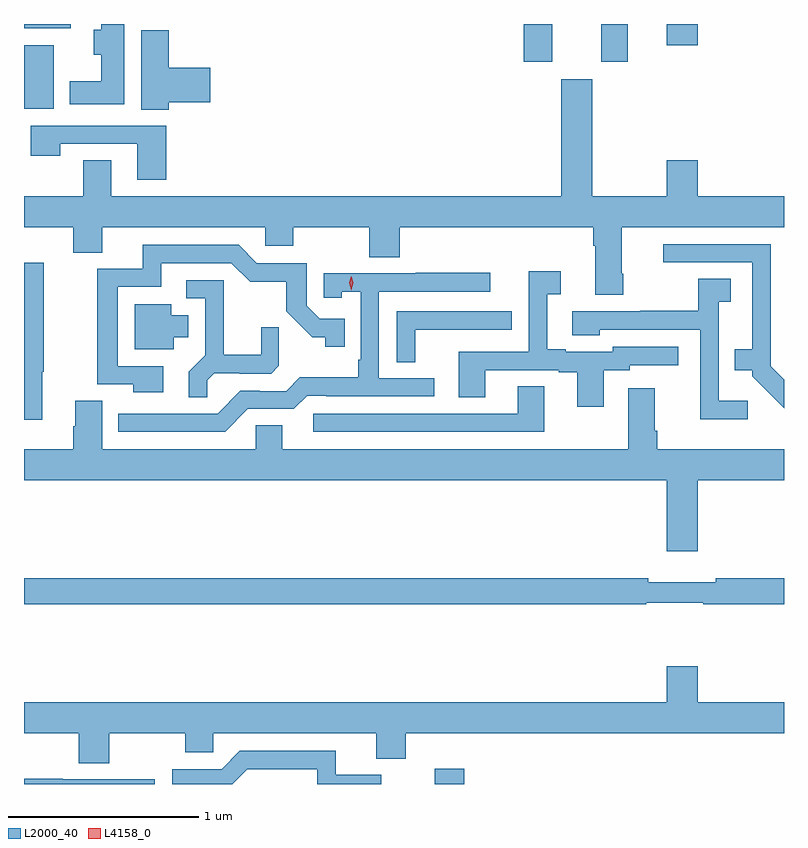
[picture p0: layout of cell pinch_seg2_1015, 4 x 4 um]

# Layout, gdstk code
import gdstk
lib = gdstk.Library(unit=1e-6, precision=1e-09)
def R(c, l, rs):  # rectangles x0, y0, x1, y1
    for r in rs: c.add(gdstk.rectangle(r[:2], r[2:], *l))
def P(c, l, *ps):  # polygons
    for p in ps: c.add(gdstk.Polygon(p, *l))
L2000_40 = (2000, 40)
L4158_0 = (4158, 0)

pinch_seg2_1015 = lib.new_cell('pinch_seg2_1015')
R(pinch_seg2_1015, L2000_40, [(319.633,595.422,319.787,595.501), (317.47,598.976,317.626,599.311), (320.099,599.223,320.251,599.422), (320.507,599.223,320.647,599.422), (320.852,599.31,321.016,599.422), (317.47,599.4,317.716,599.422)])
P(pinch_seg2_1015, L2000_40, [(317.998,599.422),(317.876,599.422),(317.876,599.391),(317.837,599.391),(317.837,599.261),(317.876,599.261),(317.876,599.122),(317.711,599.122),(317.711,599),(317.998,599)],
  [(318.233,599.009),(318.451,599.009),(318.451,599.192),(318.233,599.192),(318.233,599.388),(318.086,599.388),(318.086,598.972),(318.233,598.972)],
  [(320.625,598.108),(320.617,598.108),(320.617,598.352),(321.47,598.352),(321.47,598.516),(321.016,598.516),(321.016,598.705),(320.852,598.705),(320.852,598.516),(320.461,598.516),(320.461,599.131),(320.297,599.131),(320.297,598.516),(317.929,598.516),(317.929,598.706),(317.782,598.706),(317.782,598.516),(317.47,598.516),(317.47,598.352),(317.729,598.352),(317.729,598.219),(317.881,598.219),(317.881,598.352),(318.741,598.352),(318.741,598.254),(318.888,598.254),(318.888,598.352),(319.288,598.352),(319.288,598.195),(319.448,598.195),(319.448,598.352),(320.465,598.352),(320.465,598.256),(320.477,598.256),(320.477,597.996),(320.625,597.996)],
  [(318.218,598.887),(317.505,598.887),(317.505,598.728),(317.661,598.728),(317.661,598.791),(318.065,598.791),(318.065,598.602),(318.218,598.602)],
  [(321.47,597.55),(321.399,597.621),(321.399,598.263),(320.835,598.263),(320.835,598.167),(321.302,598.167),(321.302,597.709),(321.211,597.709),(321.211,597.599),(321.303,597.599),(321.303,597.567),(321.47,597.4)],
  [(318.202,597.621),(317.964,597.621),(317.964,598.038),(318.193,598.038),(318.193,598.164),(318.561,598.164),(318.66,598.066),(318.849,598.066),(318.849,597.91),(318.986,597.773),(319.056,597.773),(319.056,597.723),(319.157,597.723),(319.157,597.87),(319.026,597.87),(318.957,597.939),(318.957,598.164),(318.696,598.164),(318.6,598.26),(318.095,598.26),(318.095,598.134),(317.856,598.134),(317.856,597.525),(318.046,597.525),(318.046,597.485),(318.202,597.485)],
  [(317.566,597.591),(317.574,597.591),(317.574,598.165),(317.47,598.165),(317.47,597.339),(317.566,597.339)],
  [(320.521,597.6),(320.658,597.6),(320.658,597.627),(320.914,597.627),(320.914,597.723),(320.568,597.723),(320.568,597.696),(320.32,597.696),(320.32,597.709),(320.224,597.709),(320.224,598),(320.296,598),(320.296,598.12),(320.127,598.12),(320.127,597.696),(319.757,597.696),(319.757,597.457),(319.897,597.457),(319.897,597.6),(320.285,597.6),(320.285,597.588),(320.381,597.588),(320.381,597.408),(320.521,597.408)],
  [(318.648,597.396),(318.891,597.396),(318.96,597.465),(319.06,597.465),(319.06,597.462),(319.63,597.462),(319.63,597.558),(319.338,597.558),(319.338,598.014),(319.924,598.014),(319.924,598.113),(319.531,598.113),(319.531,598.11),(319.047,598.11),(319.047,597.981),(319.143,597.981),(319.143,598.013),(319.242,598.013),(319.242,597.655),(319.23,597.655),(319.23,597.562),(318.922,597.562),(318.849,597.489),(318.71,597.489),(318.71,597.492),(318.609,597.492),(318.489,597.372),(317.966,597.372),(317.966,597.276),(318.528,597.276)],
  [(321.28,597.439),(321.126,597.439),(321.126,597.961),(321.19,597.961),(321.19,598.082),(321.018,598.082),(321.018,597.912),(320.713,597.912),(320.713,597.909),(320.355,597.909),(320.355,597.785),(320.499,597.785),(320.499,597.813),(321.03,597.813),(321.03,597.581),(321.028,597.581),(321.028,597.341),(321.28,597.341)],
  [(318.435,597.548),(318.472,597.585),(318.606,597.585),(318.606,597.582),(318.771,597.582),(318.812,597.623),(318.812,597.825),(318.718,597.825),(318.718,597.682),(318.521,597.682),(318.521,598.074),(318.324,598.074),(318.324,597.978),(318.423,597.978),(318.423,597.679),(318.337,597.593),(318.337,597.457),(318.435,597.457)],
  [(318.259,597.773),(318.334,597.773),(318.334,597.889),(318.244,597.889),(318.244,597.946),(318.053,597.946),(318.053,597.71),(318.259,597.71)],
  [(319.53,597.813),(319.925,597.813),(319.925,597.814),(320.038,597.814),(320.038,597.909),(319.431,597.909),(319.431,597.643),(319.53,597.643)],
  [(320.209,597.515),(320.069,597.515),(320.069,597.372),(318.993,597.372),(318.993,597.276),(320.209,597.276)],
  [(321.016,597.02),(321.47,597.02),(321.47,597.184),(320.804,597.184),(320.804,597.28),(320.791,597.28),(320.791,597.505),(320.651,597.505),(320.651,597.184),(318.829,597.184),(318.829,597.311),(318.69,597.311),(318.69,597.184),(317.881,597.184),(317.881,597.44),(317.741,597.44),(317.741,597.306),(317.729,597.306),(317.729,597.184),(317.47,597.184),(317.47,597.02),(320.852,597.02),(320.852,596.646),(321.016,596.646)],
  [(320.744,596.376),(321.044,596.376),(321.044,596.368),(321.47,596.368),(321.47,596.504),(321.112,596.504),(321.112,596.485),(320.756,596.485),(320.756,596.504),(317.47,596.504),(317.47,596.368),(320.744,596.368)],
  [(317.919,595.688),(318.319,595.688),(318.319,595.59),(318.465,595.59),(318.465,595.688),(319.325,595.688),(319.325,595.555),(319.478,595.555),(319.478,595.688),(321.47,595.688),(321.47,595.852),(321.016,595.852),(321.016,596.041),(320.852,596.041),(320.852,595.852),(317.47,595.852),(317.47,595.688),(317.759,595.688),(317.759,595.531),(317.919,595.531)],
  [(318.645,595.5),(319.013,595.5),(319.013,595.422),(319.351,595.422),(319.351,595.47),(319.112,595.47),(319.112,595.596),(318.606,595.596),(318.51,595.5),(318.249,595.5),(318.249,595.422),(318.567,595.422)],
  [(318.159,595.446),(317.675,595.446),(317.675,595.449),(317.47,595.449),(317.47,595.422),(318.159,595.422)])
P(pinch_seg2_1015, L4158_0, [(319.192,598.022),(319.192,598.023),(319.182,598.059),(319.192,598.095),(319.192,598.095),(319.192,598.095),(319.202,598.059),(319.192,598.023)])

lib.write_gds('pinch_seg2_1015.gds')
